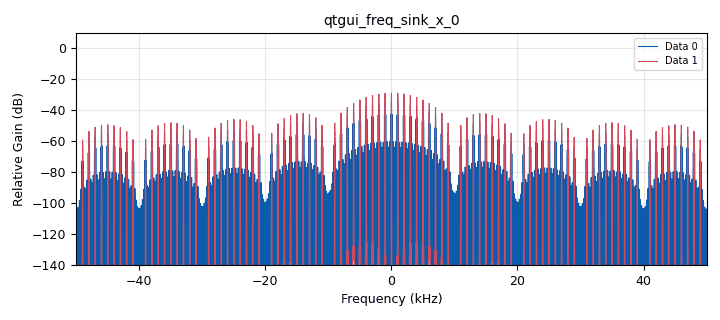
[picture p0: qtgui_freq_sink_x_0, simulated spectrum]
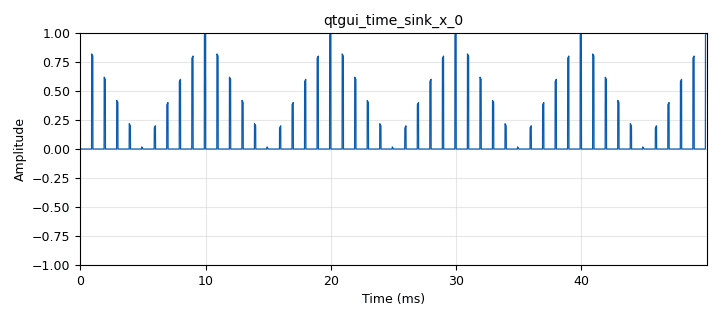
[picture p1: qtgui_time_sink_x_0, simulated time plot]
options:
  parameters:
    author: labcomu208
    generate_options: qt_gui
    id: lab5a
    output_language: python
    title: Not titled yet
  states: {}

blocks:
- name: Am
  id: variable_qtgui_range
  parameters:
    label: Amplitud mensaje
    start: '0'
    step: '0.1'
    stop: '1'
    value: '1'
  states: {}
- name: D
  id: variable_qtgui_range
  parameters:
    label: Ancho pulso [%]
    rangeType: int
    start: '0'
    step: '1'
    stop: '50'
    value: '10'
  states: {}
- name: Fm
  id: variable_qtgui_range
  parameters:
    label: Frecuencia mensaje
    start: '0'
    step: '10'
    stop: '10000'
    value: '100'
  states: {}
- name: fs
  id: variable_qtgui_range
  parameters:
    label: Frecuencia pulsos
    start: '0'
    step: '1'
    stop: '10000'
    value: '1000'
  states: {}
- name: samp_rate
  id: variable
  parameters:
    value: '100000'
  states: {}
- name: analog_sig_source_x_0
  id: analog_sig_source_x
  parameters:
    amp: '1'
    freq: fs
    offset: '0'
    phase: '0'
    samp_rate: samp_rate
    type: float
    waveform: analog.GR_SQR_WAVE
  states: {}
- name: analog_sig_source_x_0_0
  id: analog_sig_source_x
  parameters:
    amp: Am
    freq: Fm
    offset: '0'
    phase: '0'
    samp_rate: samp_rate
    type: float
    waveform: analog.GR_TRI_WAVE
  states: {}
- name: blocks_delay_0
  id: blocks_delay
  parameters:
    delay: 50-D
    type: float
  states: {}
- name: blocks_multiply_xx_0
  id: blocks_multiply_xx
  parameters:
    type: float
  states: {}
- name: blocks_multiply_xx_0_0
  id: blocks_multiply_xx
  parameters:
    type: float
  states: {}
- name: blocks_throttle_0
  id: blocks_throttle
  parameters:
    samples_per_second: samp_rate
    type: float
  states: {}
- name: qtgui_freq_sink_x_0
  id: qtgui_freq_sink_x
  parameters:
    bw: samp_rate
    fc: '0'
    fftsize: '8192'
    nconnections: '2'
    type: float
  states: {}
- name: qtgui_time_sink_x_0
  id: qtgui_time_sink_x
  parameters:
    size: '5000'
    srate: samp_rate
    type: float
  states: {}

connections:
- [analog_sig_source_x_0, '0', blocks_delay_0, '0']
- [analog_sig_source_x_0, '0', blocks_multiply_xx_0, '0']
- [analog_sig_source_x_0_0, '0', blocks_throttle_0, '0']
- [blocks_delay_0, '0', blocks_multiply_xx_0, '1']
- [blocks_multiply_xx_0, '0', blocks_multiply_xx_0_0, '1']
- [blocks_multiply_xx_0, '0', qtgui_freq_sink_x_0, '1']
- [blocks_multiply_xx_0_0, '0', qtgui_freq_sink_x_0, '0']
- [blocks_multiply_xx_0_0, '0', qtgui_time_sink_x_0, '0']
- [blocks_throttle_0, '0', blocks_multiply_xx_0_0, '0']

metadata:
  file_format: 1
